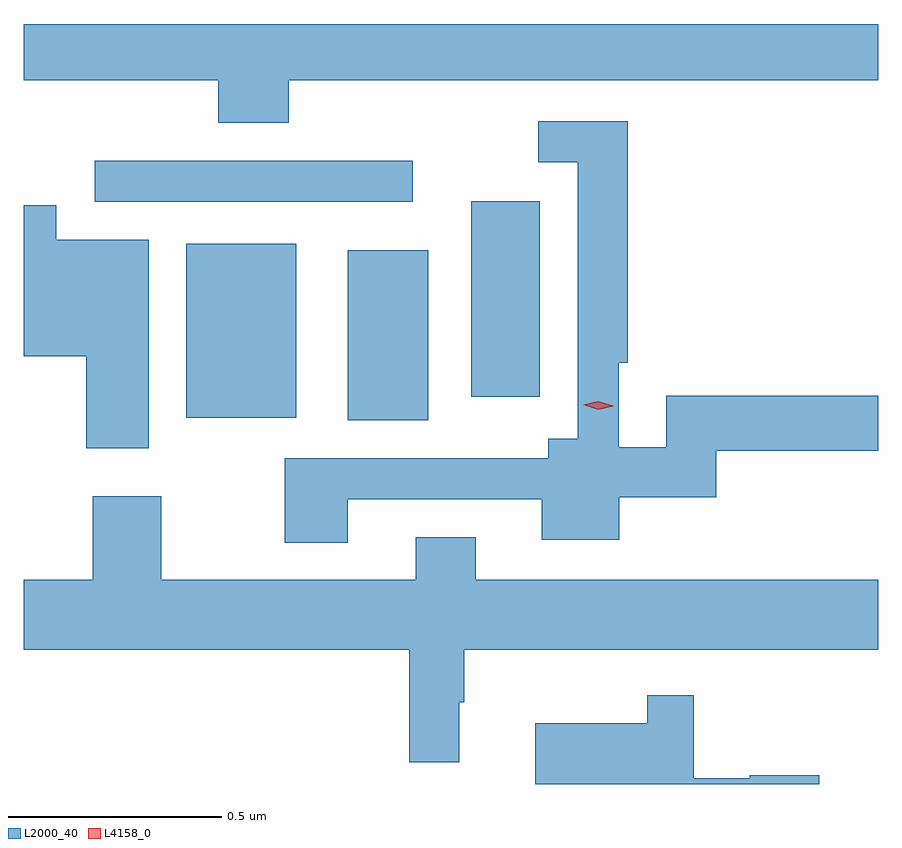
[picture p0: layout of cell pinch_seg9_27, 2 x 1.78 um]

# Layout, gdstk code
import gdstk
lib = gdstk.Library(unit=1e-6, precision=1e-09)
def R(c, l, rs):  # rectangles x0, y0, x1, y1
    for r in rs: c.add(gdstk.rectangle(r[:2], r[2:], *l))
def P(c, l, *ps):  # polygons
    for p in ps: c.add(gdstk.Polygon(p, *l))
L2000_40 = (2000, 40)
L4158_0 = (4158, 0)

pinch_seg9_27 = lib.new_cell('pinch_seg9_27')
R(pinch_seg9_27, L2000_40, [(934.97,1247.573,935.158,1247.971), (934.592,1247.579,934.849,1247.986), (935.258,1247.628,935.419,1248.085), (934.377,1248.084,935.122,1248.18)])
P(pinch_seg9_27, L2000_40, [(934.832,1248.368),(936.211,1248.368),(936.211,1248.5),(934.211,1248.5),(934.211,1248.368),(934.667,1248.368),(934.667,1248.269),(934.832,1248.269)],
  [(934.969,1247.388),(935.423,1247.388),(935.423,1247.294),(935.605,1247.294),(935.605,1247.393),(935.831,1247.393),(935.831,1247.502),(936.211,1247.502),(936.211,1247.63),(935.715,1247.63),(935.715,1247.51),(935.604,1247.51),(935.604,1247.707),(935.624,1247.707),(935.624,1248.273),(935.415,1248.273),(935.415,1248.177),(935.508,1248.177),(935.508,1247.53),(935.438,1247.53),(935.438,1247.484),(934.822,1247.484),(934.822,1247.286),(934.969,1247.286)],
  [(934.504,1247.995),(934.288,1247.995),(934.288,1248.076),(934.211,1248.076),(934.211,1247.723),(934.358,1247.723),(934.358,1247.508),(934.504,1247.508)],
  [(935.23,1246.913),(935.242,1246.913),(935.242,1247.036),(936.211,1247.036),(936.211,1247.2),(935.269,1247.2),(935.269,1247.299),(935.129,1247.299),(935.129,1247.2),(934.533,1247.2),(934.533,1247.395),(934.373,1247.395),(934.373,1247.2),(934.211,1247.2),(934.211,1247.036),(935.113,1247.036),(935.113,1246.773),(935.23,1246.773)],
  [(936.073,1246.743),(935.91,1246.743),(935.91,1246.735),(935.779,1246.735),(935.779,1246.93),(935.67,1246.93),(935.67,1246.864),(935.408,1246.864),(935.408,1246.722),(936.073,1246.722)])
P(pinch_seg9_27, L4158_0, [(935.555,1247.598),(935.52,1247.609),(935.52,1247.609),(935.52,1247.609),(935.555,1247.618),(935.59,1247.607),(935.59,1247.606),(935.59,1247.606)])

lib.write_gds('pinch_seg9_27.gds')
